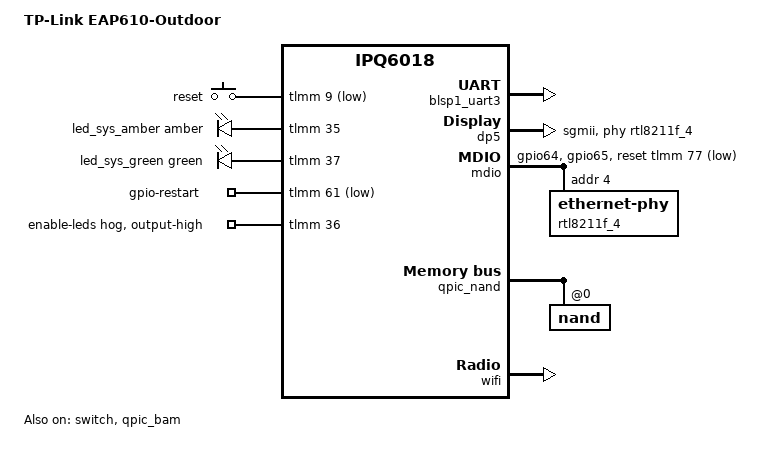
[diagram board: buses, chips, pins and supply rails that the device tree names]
// SPDX-License-Identifier: GPL-2.0-or-later OR MIT

/dts-v1/;

#include "ipq6018.dtsi"
#include "ipq6018-cp-cpu.dtsi"
#include "ipq6018-ess.dtsi"

#include <dt-bindings/gpio/gpio.h>
#include <dt-bindings/input/input.h>
#include <dt-bindings/leds/common.h>

/ {
	model = "TP-Link EAP610-Outdoor";
	compatible = "tplink,eap610-outdoor", "qcom,ipq6018";

	aliases {
		serial0 = &blsp1_uart3;
		led-boot = &led_sys_green;
		led-failsafe = &led_sys_amber;
		led-running = &led_sys_green;
		led-upgrade = &led_sys_amber;
	};

	chosen {
		stdout-path = "serial0:115200n8";
		bootargs-append = " ubi.block=0,rootfs root=/dev/ubiblock0_1";
	};

	keys {
		compatible = "gpio-keys";

		reset {
			label = "reset";
			gpios = <&tlmm 9 GPIO_ACTIVE_LOW>;
			linux,code = <KEY_RESTART>;
		};
	};

	leds {
		compatible = "gpio-leds";

		led_sys_amber: led-0 {
			function = "system";
			color = <LED_COLOR_ID_AMBER>;
			gpios = <&tlmm 35 GPIO_ACTIVE_HIGH>;
		};

		led_sys_green: led-1 {
			function = "system";
			color = <LED_COLOR_ID_GREEN>;
			gpios = <&tlmm 37 GPIO_ACTIVE_HIGH>;
		};
	};

	gpio-restart {
		compatible = "gpio-restart";
		gpios = <&tlmm 61 GPIO_ACTIVE_LOW>;
		open-source;
	};
};

&blsp1_uart3 {
	pinctrl-0 = <&serial_3_pins>;
	pinctrl-names = "default";
	status = "okay";
};

&tlmm {
	mdio_pins: mdio-pins {
		mdc {
			pins = "gpio64";
			function = "mdc";
			drive-strength = <8>;
			bias-pull-up;
		};

		mdio {
			pins = "gpio65";
			function = "mdio";
			drive-strength = <8>;
			bias-pull-up;
		};
	};

	led_enable {
		gpio-hog;
		output-high;
		gpios = <36 GPIO_ACTIVE_HIGH>;
		line-name = "enable-leds";
	};
};

&dp5 {
	phy-handle = <&rtl8211f_4>;
	phy-mode = "sgmii";
	label = "lan";
	status = "okay";
};

&edma {
	status = "okay";
};

&mdio {
	pinctrl-0 = <&mdio_pins>;
	pinctrl-names = "default";
	reset-gpios = <&tlmm 77 GPIO_ACTIVE_LOW>;
	reset-delay-us = <10000>;
	reset-post-delay-us = <50000>;
	status = "okay";

	rtl8211f_4: ethernet-phy@4 {
		reg = <4>;
	};
};

&switch {
	switch_lan_bmp = <ESS_PORT5>;
	switch_mac_mode1 = <MAC_MODE_SGMII_CHANNEL0>;
	status = "okay";

	qcom,port_phyinfo {
		port@4 {
			port_id = <5>;
			phy_address = <4>;
		};
	};
};

&qpic_bam {
	status = "okay";
};

&qpic_nand {
	status = "okay";

	nand@0 {
		reg = <0>;

		nand-ecc-strength = <4>;
		nand-ecc-step-size = <512>;
		nand-bus-width = <8>;
	};
};

&wifi {
	ieee80211-freq-limit = <2402000 5835000>;
	qcom,ath11k-calibration-variant = "TP-Link-EAP610-Outdoor";
	status = "okay";
};
